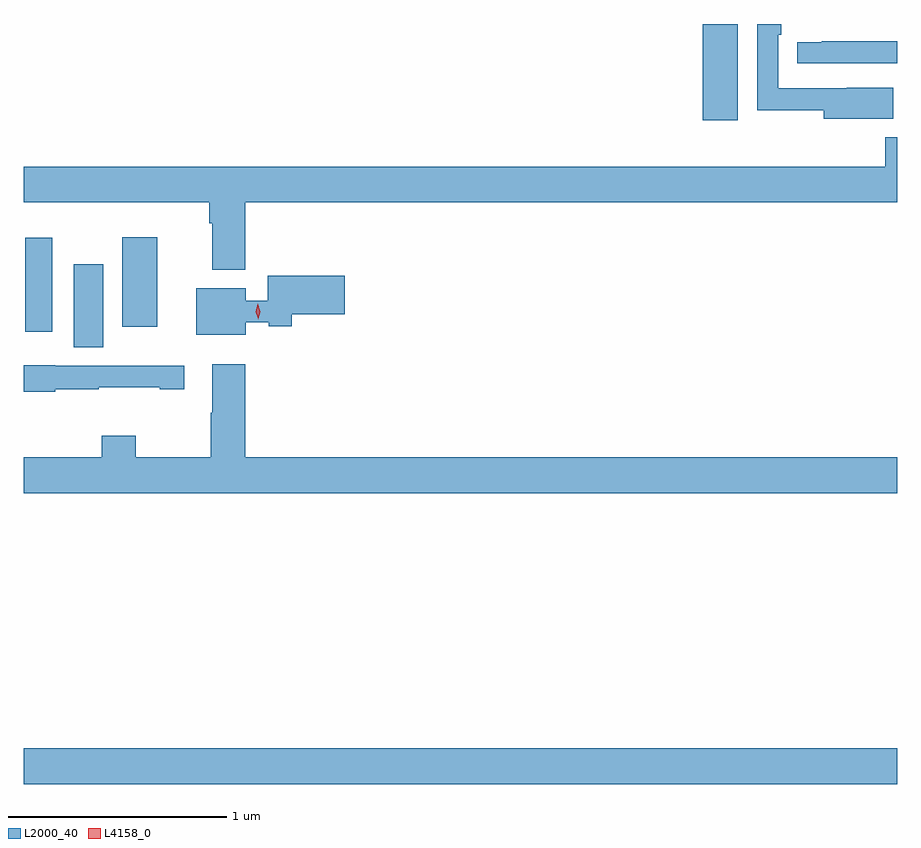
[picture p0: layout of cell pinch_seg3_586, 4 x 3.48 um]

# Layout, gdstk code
import gdstk
lib = gdstk.Library(unit=1e-6, precision=1e-09)
def R(c, l, rs):  # rectangles x0, y0, x1, y1
    for r in rs: c.add(gdstk.rectangle(r[:2], r[2:], *l))
def P(c, l, *ps):  # polygons
    for p in ps: c.add(gdstk.Polygon(p, *l))
L2000_40 = (2000, 40)
L4158_0 = (4158, 0)

pinch_seg3_586 = lib.new_cell('pinch_seg3_586')
R(pinch_seg3_586, L2000_40, [(1018.723,702.248,1022.723,702.412), (1018.952,704.248,1019.086,704.629), (1018.73,704.319,1018.852,704.749), (1019.174,704.343,1019.335,704.752), (1021.832,705.288,1021.993,705.729)])
P(pinch_seg3_586, L2000_40, [(1022.705,705.436),(1022.491,705.436),(1022.491,705.435),(1022.178,705.435),(1022.178,705.68),(1022.192,705.68),(1022.192,705.729),(1022.082,705.729),(1022.082,705.334),(1022.387,705.334),(1022.387,705.296),(1022.705,705.296)],
  [(1022.723,705.65),(1022.377,705.65),(1022.377,705.645),(1022.265,705.645),(1022.265,705.549),(1022.723,705.549)],
  [(1019.738,704.912),(1022.723,704.912),(1022.723,705.211),(1022.669,705.211),(1022.669,705.076),(1018.723,705.076),(1018.723,704.912),(1019.573,704.912),(1019.573,704.816),(1019.585,704.816),(1019.585,704.603),(1019.738,704.603)],
  [(1019.74,704.363),(1019.844,704.363),(1019.844,704.344),(1019.95,704.344),(1019.95,704.399),(1020.193,704.399),(1020.193,704.577),(1019.84,704.577),(1019.84,704.461),(1019.74,704.461),(1019.74,704.518),(1019.513,704.518),(1019.513,704.306),(1019.74,704.306)],
  [(1022.723,703.744),(1019.738,703.744),(1019.738,704.17),(1019.585,704.17),(1019.585,703.949),(1019.578,703.949),(1019.578,703.744),(1019.235,703.744),(1019.235,703.843),(1019.08,703.843),(1019.08,703.744),(1018.723,703.744),(1018.723,703.58),(1022.723,703.58)],
  [(1018.866,704.055),(1019.066,704.055),(1019.066,704.065),(1019.345,704.065),(1019.345,704.055),(1019.458,704.055),(1019.458,704.164),(1019.182,704.164),(1019.182,704.163),(1018.866,704.163),(1018.866,704.167),(1018.723,704.167),(1018.723,704.045),(1018.866,704.045)])
P(pinch_seg3_586, L4158_0, [(1019.797,704.377),(1019.797,704.378),(1019.786,704.412),(1019.794,704.447),(1019.794,704.447),(1019.795,704.447),(1019.806,704.412),(1019.797,704.378)])

lib.write_gds('pinch_seg3_586.gds')
